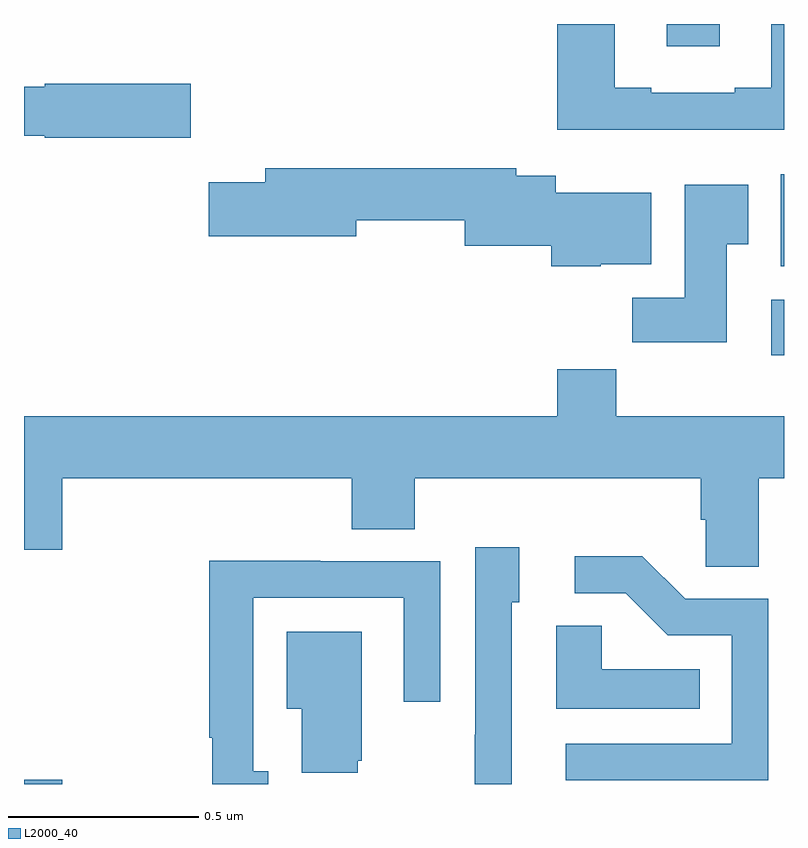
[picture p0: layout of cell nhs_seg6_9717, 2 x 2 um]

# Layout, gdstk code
import gdstk
lib = gdstk.Library(unit=1e-6, precision=1e-09)
def R(c, l, rs):  # rectangles x0, y0, x1, y1
    for r in rs: c.add(gdstk.rectangle(r[:2], r[2:], *l))
def P(c, l, *ps):  # polygons
    for p in ps: c.add(gdstk.Polygon(p, *l))
L2000_40 = (2000, 40)

nhs_seg6_9717 = lib.new_cell('nhs_seg6_9717')
R(nhs_seg6_9717, L2000_40, [(237,978.5,237.1,978.511), (238.967,979.628,239,979.774), (238.991,979.862,239,980.104), (238.691,980.442,238.831,980.5)])
P(nhs_seg6_9717, L2000_40, [(239,980.5),(238.967,980.5),(238.967,980.332),(238.871,980.332),(238.871,980.319),(238.651,980.319),(238.651,980.332),(238.555,980.332),(238.555,980.5),(238.403,980.5),(238.403,980.222),(239,980.222)],
  [(237.439,980.343),(237.054,980.343),(237.054,980.335),(237,980.335),(237,980.206),(237.054,980.206),(237.054,980.201),(237.439,980.201)],
  [(238.518,979.868),(238.651,979.868),(238.651,980.056),(238.399,980.056),(238.399,980.101),(238.295,980.101),(238.295,980.12),(237.635,980.12),(237.635,980.084),(237.486,980.084),(237.486,979.942),(237.874,979.942),(237.874,979.984),(238.16,979.984),(238.16,979.916),(238.388,979.916),(238.388,979.862),(238.518,979.862)],
  [(238.849,979.921),(238.906,979.921),(238.906,980.077),(238.739,980.077),(238.739,979.78),(238.6,979.78),(238.6,979.662),(238.849,979.662)],
  [(238.933,979.304),(239,979.304),(239,979.468),(238.559,979.468),(238.559,979.592),(238.403,979.592),(238.403,979.468),(237,979.468),(237,979.116),(237.1,979.116),(237.1,979.304),(237.863,979.304),(237.863,979.171),(238.028,979.171),(238.028,979.304),(238.781,979.304),(238.781,979.195),(238.794,979.195),(238.794,979.072),(238.933,979.072)],
  [(238.284,978.978),(238.303,978.978),(238.303,979.123),(238.188,979.123),(238.188,978.629),(238.186,978.629),(238.186,978.5),(238.284,978.5)],
  [(238.959,978.987),(238.74,978.987),(238.627,979.1),(238.449,979.1),(238.449,979.002),(238.583,979.002),(238.694,978.891),(238.863,978.891),(238.863,978.606),(238.425,978.606),(238.425,978.51),(238.959,978.51)],
  [(237.643,978.534),(237.603,978.534),(237.603,978.99),(237.999,978.99),(237.999,978.717),(238.095,978.717),(238.095,979.086),(237.779,979.086),(237.779,979.088),(237.487,979.088),(237.487,978.622),(237.495,978.622),(237.495,978.5),(237.643,978.5)],
  [(238.778,978.802),(238.521,978.802),(238.521,978.917),(238.4,978.917),(238.4,978.698),(238.778,978.698)],
  [(237.878,978.561),(237.889,978.561),(237.889,978.901),(237.692,978.901),(237.692,978.698),(237.731,978.698),(237.731,978.53),(237.878,978.53)])

lib.write_gds('nhs_seg6_9717.gds')
